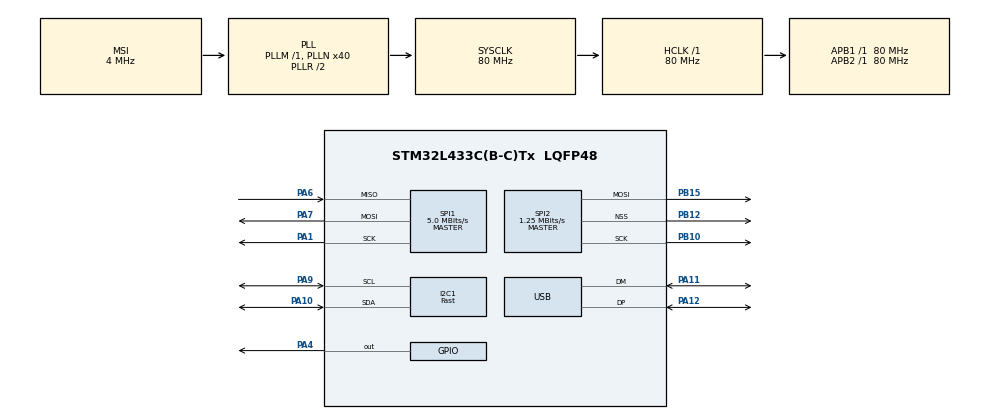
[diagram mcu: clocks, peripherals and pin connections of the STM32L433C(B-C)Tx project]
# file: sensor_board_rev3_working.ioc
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Dma.Request0=SPI2_TX
Dma.SPI2_TX.0.Direction=DMA_MEMORY_TO_PERIPH
Dma.SPI2_TX.0.Instance=DMA1_Channel5
Dma.SPI2_TX.0.MemDataAlignment=DMA_MDATAALIGN_BYTE
Dma.SPI2_TX.0.MemInc=DMA_MINC_ENABLE
Dma.SPI2_TX.0.Mode=DMA_CIRCULAR
Dma.SPI2_TX.0.PeriphDataAlignment=DMA_PDATAALIGN_BYTE
Dma.SPI2_TX.0.PeriphInc=DMA_PINC_DISABLE
Dma.SPI2_TX.0.Priority=DMA_PRIORITY_VERY_HIGH
FREERTOS.Tasks01=defaultTask,24,128,StartDefaultTask,Default,NULL,Dynamic,NULL,NULL;task_baro_read,24,2048,vTaskBaroRead,As external,NULL,Static,task_baro_readBuffer,task_baro_readControlBlock;task_imu_read,24,4096,vTaskImuRead,As external,NULL,Static,task_imu_readBuffer,task_imu_readControlBlock;task_send_to_mb,24,2048,vTaskSendToMb,As external,NULL,Static,task_send_to_mbBuffer,task_send_to_mbControlBlock;task_preprocess,24,2048,vTaskPreprocess,As external,NULL,Static,task_preprocessBuffer,task_preprocessControlBlock
I2C1.I2C_Speed_Mode=I2C_Fast
I2C1.Timing=0x00702991
Mcu.Family=STM32L4
Mcu.Name=STM32L433C(B-C)Tx
Mcu.Package=LQFP48
NVIC.DMA1_Channel5_IRQn=true\:5\:0\:false\:false\:true\:true\:false\:true
NVIC.PriorityGroup=NVIC_PRIORITYGROUP_4
NVIC.SPI2_IRQn=true\:5\:0\:false\:false\:true\:true\:true\:true
NVIC.TIM1_UP_TIM16_IRQn=true\:0\:0\:false\:false\:true\:false\:false\:true
NVIC.TimeBase=TIM1_UP_TIM16_IRQn
NVIC.TimeBaseIP=TIM1
NVIC.USB_IRQn=true\:5\:0\:false\:false\:true\:true\:false\:true
PA1.Mode=Full_Duplex_Master
PA1.Signal=SPI1_SCK
PA10.Mode=I2C
PA10.Signal=I2C1_SDA
PA11.Mode=Device
PA11.Signal=USB_DM
PA12.Mode=Device
PA12.Signal=USB_DP
PA13\ (JTMS-SWDIO).Mode=Serial_Wire
PA13\ (JTMS-SWDIO).Signal=SYS_JTMS-SWDIO
PA14\ (JTCK-SWCLK).Mode=Serial_Wire
PA14\ (JTCK-SWCLK).Signal=SYS_JTCK-SWCLK
PA4.Signal=GPIO_Output
PA6.Mode=Full_Duplex_Master
PA6.Signal=SPI1_MISO
PA7.Mode=Full_Duplex_Master
PA7.Signal=SPI1_MOSI
PA9.Mode=I2C
PA9.Signal=I2C1_SCL
PB10.Mode=TX_Only_Simplex_Unidirect_Master
PB10.Signal=SPI2_SCK
PB12.Mode=NSS_Signal_Hard_Output
PB12.Signal=SPI2_NSS
PB15.Mode=TX_Only_Simplex_Unidirect_Master
PB15.Signal=SPI2_MOSI
PH0-OSC_IN\ (PH0).Mode=HSE-External-Oscillator
PH0-OSC_IN\ (PH0).Signal=RCC_OSC_IN
PH1-OSC_OUT\ (PH1).Mode=HSE-External-Oscillator
PH1-OSC_OUT\ (PH1).Signal=RCC_OSC_OUT
ProjectManager.HeapSize=0x200
ProjectManager.StackSize=0x400
ProjectManager.TargetToolchain=STM32CubeIDE
RCC.ADCFreq_Value=48000000
RCC.AHBFreq_Value=80000000
RCC.APB1Freq_Value=80000000
RCC.APB1TimFreq_Value=80000000
RCC.APB2Freq_Value=80000000
RCC.APB2TimFreq_Value=80000000
RCC.CortexFreq_Value=80000000
RCC.HCLKFreq_Value=80000000
RCC.HSE_VALUE=8000000
RCC.HSI48_VALUE=48000000
RCC.HSI_VALUE=16000000
RCC.LSE_VALUE=32768
RCC.MSI_VALUE=4000000
RCC.PLLN=40
RCC.PLLSAI1N=24
RCC.SYSCLKFreq_VALUE=80000000
RCC.SYSCLKSource=RCC_SYSCLKSOURCE_PLLCLK
RCC.USBFreq_Value=48000000
RCC.VCOOutputFreq_Value=160000000
SPI1.BaudRatePrescaler=SPI_BAUDRATEPRESCALER_16
SPI1.CalculateBaudRate=5.0 MBits/s
SPI1.DataSize=SPI_DATASIZE_8BIT
SPI1.Direction=SPI_DIRECTION_2LINES
SPI1.FirstBit=SPI_FIRSTBIT_MSB
SPI1.Mode=SPI_MODE_MASTER
SPI1.VirtualType=VM_MASTER
SPI2.BaudRatePrescaler=SPI_BAUDRATEPRESCALER_64
SPI2.CLKPhase=SPI_PHASE_1EDGE
SPI2.CLKPolarity=SPI_POLARITY_LOW
SPI2.CalculateBaudRate=1.25 MBits/s
SPI2.DataSize=SPI_DATASIZE_8BIT
SPI2.Direction=SPI_DIRECTION_2LINES
SPI2.Mode=SPI_MODE_MASTER
SPI2.NSSPMode=SPI_NSS_PULSE_DISABLE
SPI2.VirtualNSS=VM_NSSHARD
SPI2.VirtualType=VM_MASTER
USB_DEVICE.CLASS_NAME_FS=CDC
USB_DEVICE.VirtualMode=Cdc
USB_DEVICE.VirtualModeFS=Cdc_FS
VP_FREERTOS_VS_CMSIS_V2.Mode=CMSIS_V2
VP_SYS_VS_tim1.Mode=TIM1
VP_USB_DEVICE_VS_USB_DEVICE_CDC_FS.Mode=CDC_FS
board=custom

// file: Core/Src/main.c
/* USER CODE BEGIN Header */
/**
  ******************************************************************************
  * @file           : main.c
  * @brief          : Main program body
  ******************************************************************************
  * @attention
  *
  * <h2><center>&copy; Copyright (c) 2019 STMicroelectronics.
  * All rights reserved.</center></h2>
  *
  * This software component is licensed by ST under BSD 3-Clause license,
  * the "License"; You may not use this file except in compliance with the
  * License. You may obtain a copy of the License at:
  *                        opensource.org/licenses/BSD-3-Clause
  *
  ******************************************************************************
  */
/* USER CODE END Header */

#include "main.h"
#include "cmsis_os.h"
#include "usb_device.h"

/* USER CODE BEGIN Includes */
#include "tasks/task_baro_read.h"
#include "tasks/task_imu_read.h"
#include "tasks/task_send_to_mb.h"
#include "tasks/task_preprocess.h"
#include "util.h"
/* USER CODE END Includes */

typedef StaticTask_t osStaticThreadDef_t;

I2C_HandleTypeDef hi2c1;

SPI_HandleTypeDef hspi1;
SPI_HandleTypeDef hspi2;

/* Definitions for defaultTask */
osThreadId_t defaultTaskHandle;
const osThreadAttr_t defaultTask_attributes = {
  .name = "defaultTask",
  .priority = (osPriority_t) osPriorityNormal,
  .stack_size = 128 * 4
};
/* Definitions for task_baro_read */
osThreadId_t task_baro_readHandle;
uint32_t task_baro_readBuffer[ 2048 ];
osStaticThreadDef_t task_baro_readControlBlock;
const osThreadAttr_t task_baro_read_attributes = {
  .name = "task_baro_read",
  .stack_mem = &task_baro_readBuffer[0],
  .stack_size = sizeof(task_baro_readBuffer),
  .cb_mem = &task_baro_readControlBlock,
  .cb_size = sizeof(task_baro_readControlBlock),
  .priority = (osPriority_t) osPriorityNormal,
};
/* Definitions for task_imu_read */
osThreadId_t task_imu_readHandle;
uint32_t task_imu_readBuffer[ 4096 ];
osStaticThreadDef_t task_imu_readControlBlock;
const osThreadAttr_t task_imu_read_attributes = {
  .name = "task_imu_read",
  .stack_mem = &task_imu_readBuffer[0],
  .stack_size = sizeof(task_imu_readBuffer),
  .cb_mem = &task_imu_readControlBlock,
  .cb_size = sizeof(task_imu_readControlBlock),
  .priority = (osPriority_t) osPriorityNormal,
};
/* Definitions for task_send_to_mb */
osThreadId_t task_send_to_mbHandle;
uint32_t task_send_to_mbBuffer[ 2048 ];
osStaticThreadDef_t task_send_to_mbControlBlock;
const osThreadAttr_t task_send_to_mb_attributes = {
  .name = "task_send_to_mb",
  .stack_mem = &task_send_to_mbBuffer[0],
  .stack_size = sizeof(task_send_to_mbBuffer),
  .cb_mem = &task_send_to_mbControlBlock,
  .cb_size = sizeof(task_send_to_mbControlBlock),
  .priority = (osPriority_t) osPriorityNormal,
};
/* Definitions for task_preprocess */
osThreadId_t task_preprocessHandle;
uint32_t task_preprocessBuffer[ 2048 ];
osStaticThreadDef_t task_preprocessControlBlock;
const osThreadAttr_t task_preprocess_attributes = {
  .name = "task_preprocess",
  .stack_mem = &task_preprocessBuffer[0],
  .stack_size = sizeof(task_preprocessBuffer),
  .cb_mem = &task_preprocessControlBlock,
  .cb_size = sizeof(task_preprocessControlBlock),
  .priority = (osPriority_t) osPriorityNormal,
};
/* USER CODE BEGIN PV */
osMessageQueueId_t preprocess_queue;
/* Baro Stuff */
osMutexId_t baro_mutex;
baro_data_t baro_data_to_mb;
/* IMU Stuff */
osMutexId_t imu_mutex;
imu_data_t imu_data_to_mb;
/* SPI Receive */
sb_data_t fullsb_data;
/* Fake USB Data insert */
//osMessageQueueId_t usb_data_queue;
osMutexId_t usb_data_mutex;
uint8_t usb_data_buffer[64] = {[0 ... 63] = 48};
/* USER CODE END PV */

void SystemClock_Config(void);
static void MX_GPIO_Init(void);
static void MX_I2C1_Init(void);
static void MX_SPI1_Init(void);
static void MX_SPI2_Init(void);
void StartDefaultTask(void *argument);
extern void vTaskBaroRead(void *argument);
extern void vTaskImuRead(void *argument);
extern void vTaskSendToMb(void *argument);
extern void vTaskPreprocess(void *argument);

int main(void)
{

  /* MCU Configuration--------------------------------------------------------*/

  /* Reset of all peripherals, Initializes the Flash interface and the Systick. */
  HAL_Init();

  /* USER CODE BEGIN Init */
  MX_USB_DEVICE_Init();

  /* USER CODE END Init */

  /* Configure the system clock */
  SystemClock_Config();

  /* Initialize all configured peripherals */
  MX_GPIO_Init();
  MX_I2C1_Init();
  MX_SPI1_Init();
  MX_SPI2_Init();

  /* Init scheduler */
  osKernelInitialize();

  /* USER CODE BEGIN RTOS_MUTEX */

  /* Barometer Mutex */
  const osMutexAttr_t baro_mutex_attr = {
    "baro_mutex",                          // human readable mutex name
    osMutexPrioInherit,    // attr_bits
    NULL,                                     // memory for control block
    0U                                        // size for control block
  };

  baro_mutex = osMutexNew(&baro_mutex_attr);
  /* IMU Mutex */
  const osMutexAttr_t imu_mutex_attr = {
    "imu_mutex",                          // human readable mutex name
    osMutexPrioInherit,    // attr_bits
    NULL,                                     // memory for control block
    0U                                        // size for control block
  };

  imu_mutex = osMutexNew(&imu_mutex_attr);

#ifdef DEBUG
  const osMutexAttr_t print_mutex_attr = {
	  "print_mutex",                            // human readable mutex name
	  osMutexPrioInherit,    					  // attr_bits
	  NULL,                                     // memory for control block
	  0U                                        // size for control block
	};

  print_mutex = osMutexNew(&print_mutex_attr);
#endif
  /* USER CODE END RTOS_MUTEX */

  /* USER CODE BEGIN RTOS_QUEUES */
  /* add queues, ... */
  preprocess_queue = osMessageQueueNew(PREPROCESS_QUEUE_SIZE, sizeof(imu_data_t), NULL);
  /* USER CODE END RTOS_QUEUES */

  /* Create the thread(s) */
  /* creation of defaultTask */
  defaultTaskHandle = osThreadNew(StartDefaultTask, NULL, &defaultTask_attributes);

  /* creation of task_baro_read */
  task_baro_readHandle = osThreadNew(vTaskBaroRead, NULL, &task_baro_read_attributes);

  /* creation of task_imu_read */
  task_imu_readHandle = osThreadNew(vTaskImuRead, NULL, &task_imu_read_attributes);

  /* creation of task_send_to_mb */
  task_send_to_mbHandle = osThreadNew(vTaskSendToMb, NULL, &task_send_to_mb_attributes);

  /* creation of task_preprocess */
  task_preprocessHandle = osThreadNew(vTaskPreprocess, NULL, &task_preprocess_attributes);

  /* Start scheduler */
  osKernelStart();

  /* We should never get here as control is now taken by the scheduler */
  /* Infinite loop */
  while (1)
  {

  }
}

void SystemClock_Config(void)
{
  RCC_OscInitTypeDef RCC_OscInitStruct = {0};
  RCC_ClkInitTypeDef RCC_ClkInitStruct = {0};
  RCC_PeriphCLKInitTypeDef PeriphClkInit = {0};

  /** Initializes the CPU, AHB and APB busses clocks
  */
  RCC_OscInitStruct.OscillatorType = RCC_OSCILLATORTYPE_MSI;
  RCC_OscInitStruct.MSIState = RCC_MSI_ON;
  RCC_OscInitStruct.MSICalibrationValue = 0;
  RCC_OscInitStruct.MSIClockRange = RCC_MSIRANGE_6;
  RCC_OscInitStruct.PLL.PLLState = RCC_PLL_ON;
  RCC_OscInitStruct.PLL.PLLSource = RCC_PLLSOURCE_MSI;
  RCC_OscInitStruct.PLL.PLLM = 1;
  RCC_OscInitStruct.PLL.PLLN = 40;
  RCC_OscInitStruct.PLL.PLLP = RCC_PLLP_DIV7;
  RCC_OscInitStruct.PLL.PLLQ = RCC_PLLQ_DIV2;
  RCC_OscInitStruct.PLL.PLLR = RCC_PLLR_DIV2;
  if (HAL_RCC_OscConfig(&RCC_OscInitStruct) != HAL_OK)
  {
    Error_Handler();
  }
  /** Initializes the CPU, AHB and APB busses clocks
  */
  RCC_ClkInitStruct.ClockType = RCC_CLOCKTYPE_HCLK|RCC_CLOCKTYPE_SYSCLK
                              |RCC_CLOCKTYPE_PCLK1|RCC_CLOCKTYPE_PCLK2;
  RCC_ClkInitStruct.SYSCLKSource = RCC_SYSCLKSOURCE_PLLCLK;
  RCC_ClkInitStruct.AHBCLKDivider = RCC_SYSCLK_DIV1;
  RCC_ClkInitStruct.APB1CLKDivider = RCC_HCLK_DIV1;
  RCC_ClkInitStruct.APB2CLKDivider = RCC_HCLK_DIV1;

  if (HAL_RCC_ClockConfig(&RCC_ClkInitStruct, FLASH_LATENCY_4) != HAL_OK)
  {
    Error_Handler();
  }
  PeriphClkInit.PeriphClockSelection = RCC_PERIPHCLK_I2C1|RCC_PERIPHCLK_USB;
  PeriphClkInit.I2c1ClockSelection = RCC_I2C1CLKSOURCE_PCLK1;
  PeriphClkInit.UsbClockSelection = RCC_USBCLKSOURCE_PLLSAI1;
  PeriphClkInit.PLLSAI1.PLLSAI1Source = RCC_PLLSOURCE_MSI;
  PeriphClkInit.PLLSAI1.PLLSAI1M = 1;
  PeriphClkInit.PLLSAI1.PLLSAI1N = 24;
  PeriphClkInit.PLLSAI1.PLLSAI1P = RCC_PLLP_DIV7;
  PeriphClkInit.PLLSAI1.PLLSAI1Q = RCC_PLLQ_DIV2;
  PeriphClkInit.PLLSAI1.PLLSAI1R = RCC_PLLR_DIV2;
  PeriphClkInit.PLLSAI1.PLLSAI1ClockOut = RCC_PLLSAI1_48M2CLK;
  if (HAL_RCCEx_PeriphCLKConfig(&PeriphClkInit) != HAL_OK)
  {
    Error_Handler();
  }
  /** Configure the main internal regulator output voltage
  */
  if (HAL_PWREx_ControlVoltageScaling(PWR_REGULATOR_VOLTAGE_SCALE1) != HAL_OK)
  {
    Error_Handler();
  }
}

static void MX_I2C1_Init(void)
{

  hi2c1.Instance = I2C1;
  hi2c1.Init.Timing = 0x00702991;
  hi2c1.Init.OwnAddress1 = 0;
  hi2c1.Init.AddressingMode = I2C_ADDRESSINGMODE_7BIT;
  hi2c1.Init.DualAddressMode = I2C_DUALADDRESS_DISABLE;
  hi2c1.Init.OwnAddress2 = 0;
  hi2c1.Init.OwnAddress2Masks = I2C_OA2_NOMASK;
  hi2c1.Init.GeneralCallMode = I2C_GENERALCALL_DISABLE;
  hi2c1.Init.NoStretchMode = I2C_NOSTRETCH_DISABLE;
  if (HAL_I2C_Init(&hi2c1) != HAL_OK)
  {
    Error_Handler();
  }
  /** Configure Analogue filter
  */
  if (HAL_I2CEx_ConfigAnalogFilter(&hi2c1, I2C_ANALOGFILTER_ENABLE) != HAL_OK)
  {
    Error_Handler();
  }
  /** Configure Digital filter
  */
  if (HAL_I2CEx_ConfigDigitalFilter(&hi2c1, 0) != HAL_OK)
  {
    Error_Handler();
  }

}

static void MX_SPI1_Init(void)
{

  /* SPI1 parameter configuration*/
  hspi1.Instance = SPI1;
  hspi1.Init.Mode = SPI_MODE_MASTER;
  hspi1.Init.Direction = SPI_DIRECTION_2LINES;
  hspi1.Init.DataSize = SPI_DATASIZE_8BIT;
  hspi1.Init.CLKPolarity = SPI_POLARITY_LOW;
  hspi1.Init.CLKPhase = SPI_PHASE_1EDGE;
  hspi1.Init.NSS = SPI_NSS_SOFT;
  hspi1.Init.BaudRatePrescaler = SPI_BAUDRATEPRESCALER_16;
  hspi1.Init.FirstBit = SPI_FIRSTBIT_MSB;
  hspi1.Init.TIMode = SPI_TIMODE_DISABLE;
  hspi1.Init.CRCCalculation = SPI_CRCCALCULATION_DISABLE;
  hspi1.Init.CRCPolynomial = 7;
  hspi1.Init.CRCLength = SPI_CRC_LENGTH_DATASIZE;
  hspi1.Init.NSSPMode = SPI_NSS_PULSE_ENABLE;
  if (HAL_SPI_Init(&hspi1) != HAL_OK)
  {
    Error_Handler();
  }

}

static void MX_SPI2_Init(void)
{

  /* SPI2 parameter configuration*/
  hspi2.Instance = SPI2;
  hspi2.Init.Mode = SPI_MODE_MASTER;
  hspi2.Init.Direction = SPI_DIRECTION_2LINES;
  hspi2.Init.DataSize = SPI_DATASIZE_8BIT;
  hspi2.Init.CLKPolarity = SPI_POLARITY_LOW;
  hspi2.Init.CLKPhase = SPI_PHASE_1EDGE;
  hspi2.Init.NSS = SPI_NSS_SOFT;
  hspi2.Init.BaudRatePrescaler = SPI_BAUDRATEPRESCALER_32;
  hspi2.Init.FirstBit = SPI_FIRSTBIT_MSB;
  hspi2.Init.TIMode = SPI_TIMODE_DISABLE;
  hspi2.Init.CRCCalculation = SPI_CRCCALCULATION_DISABLE;
  hspi2.Init.CRCPolynomial = 7;
  hspi2.Init.CRCLength = SPI_CRC_LENGTH_DATASIZE;
  hspi2.Init.NSSPMode = SPI_NSS_PULSE_ENABLE;
  if (HAL_SPI_Init(&hspi2) != HAL_OK)
  {
    Error_Handler();
  }

}

static void MX_GPIO_Init(void)
{
  GPIO_InitTypeDef GPIO_InitStruct = {0};

  /* GPIO Ports Clock Enable */
  __HAL_RCC_GPIOH_CLK_ENABLE();
  __HAL_RCC_GPIOA_CLK_ENABLE();
  __HAL_RCC_GPIOB_CLK_ENABLE();

  /*Configure GPIO pin Output Level */
  HAL_GPIO_WritePin(GPIOA, GPIO_PIN_4, GPIO_PIN_RESET);

  /*Configure GPIO pin Output Level */
  HAL_GPIO_WritePin(GPIOB, GPIO_PIN_12, GPIO_PIN_RESET);

  /*Configure GPIO pin : PA4 */
  GPIO_InitStruct.Pin = GPIO_PIN_4;
  GPIO_InitStruct.Mode = GPIO_MODE_OUTPUT_PP;
  GPIO_InitStruct.Pull = GPIO_NOPULL;
  GPIO_InitStruct.Speed = GPIO_SPEED_FREQ_LOW;
  HAL_GPIO_Init(GPIOA, &GPIO_InitStruct);

  /*Configure GPIO pin : PB12 */
  GPIO_InitStruct.Pin = GPIO_PIN_12;
  GPIO_InitStruct.Mode = GPIO_MODE_OUTPUT_PP;
  GPIO_InitStruct.Pull = GPIO_NOPULL;
  GPIO_InitStruct.Speed = GPIO_SPEED_FREQ_LOW;
  HAL_GPIO_Init(GPIOB, &GPIO_InitStruct);

}

void StartDefaultTask(void *argument)
{
  /* init code for USB_DEVICE */
  MX_USB_DEVICE_Init();
  for(;;)
  {
    osDelay(1);
  }
}

 /**
  * @brief  Period elapsed callback in non blocking mode
  * @note   This function is called  when TIM1 interrupt took place, inside
  * HAL_TIM_IRQHandler(). It makes a direct call to HAL_IncTick() to increment
  * a global variable "uwTick" used as application time base.
  * @param  htim : TIM handle
  * @retval None
  */
void HAL_TIM_PeriodElapsedCallback(TIM_HandleTypeDef *htim)
{
  if (htim->Instance == TIM1) {
    HAL_IncTick();
  }
}

void Error_Handler(void)
{
}

/************************ (C) COPYRIGHT STMicroelectronics *****END OF FILE****/
